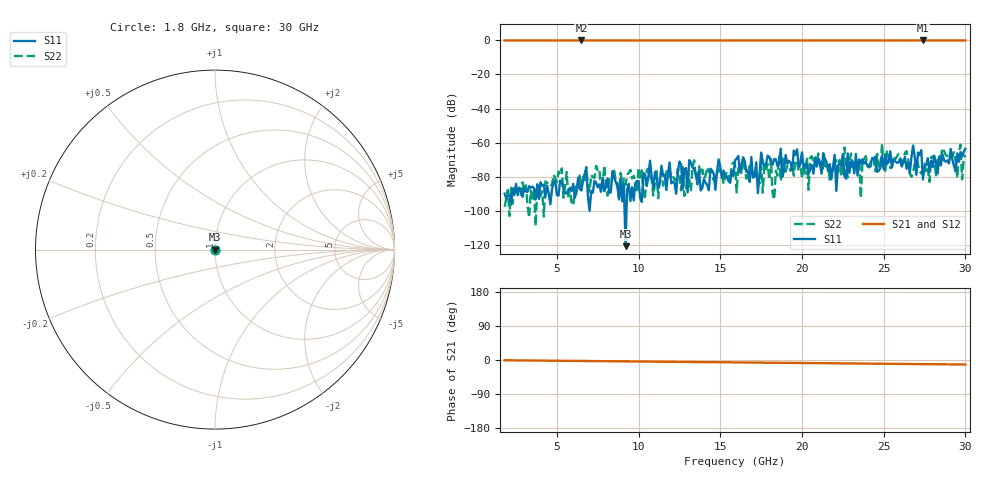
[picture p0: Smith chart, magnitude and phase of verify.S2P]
! C:\Users\Focus\Desktop\Focus Traning\LOW FREQUENCY TUNERS\LOAD-PULL CALIBRATION\02-08-2024\focus_TRL\verify.S2P
# GHZ S MA R 50
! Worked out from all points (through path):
!   283 points, 1.8 GHz to 30 GHz, reference 50 ohm
!   highest |S21| = 0.00 dB at 27.4 GHz (marker M1); lowest = 0.0 dB at 6.5 GHz (marker M2)
!   group delay of S21, straight-line fit = 1.1 ps
!   lowest |S11| = -120.9 dB at 9.2 GHz (marker M3), VSWR 1.00, Z = 50 - j5.31e-05 ohm
!   |S11| at or under -10 dB: start of sweep to end of sweep
!   |S22| runs from -109.1 to -60.6 dB; largest |S21 - S12| = 0.00063
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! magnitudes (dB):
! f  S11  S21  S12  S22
! 1.8 GHz  -90.1  0.0  0.0  -97.8
! 6.5 GHz  -88.2  0.0  0.0  -87.5
! 9.2 GHz  -120.9  0.0  0.0  -84.9
! 11.2 GHz  -86.9  0.0  0.0  -92.8
! 15.9 GHz  -70.4  0.0  0.0  -72.2
! 20.6 GHz  -73.1  0.0  0.0  -68.0
! 22.4 GHz  -73.7  0.0  0.0  -80.3
! 22.6 GHz  -79.8  0.0  0.0  -62.9
! 22.8 GHz  -66.4  0.0  0.0  -80.5
! 23 GHz  -71.3  0.0  0.0  -66.4
! 23.6 GHz  -72.3  0.0  0.0  -92.6
! 25.3 GHz  -71.4  0.0  0.0  -66.8
! 26.6 GHz  -77.9  0.0  0.0  -78.0
! 26.8 GHz  -61.7  0.0  0.0  -77.5
! 27 GHz  -78.9  0.0  0.0  -69.8
! 27.3 GHz  -64.5  0.0  0.0  -78.2
! 27.4 GHz  -81.7  0.0  0.0  -76.5
! 28.6 GHz  -67.0  0.0  0.0  -63.2
! 29.5 GHz  -66.4  0.0  0.0  -80.8
! 29.7 GHz  -65.7  0.0  0.0  -61.2
! 29.8 GHz  -68.2  0.0  0.0  -81.6
! 30 GHz  -63.7  0.0  0.0  -67.4
